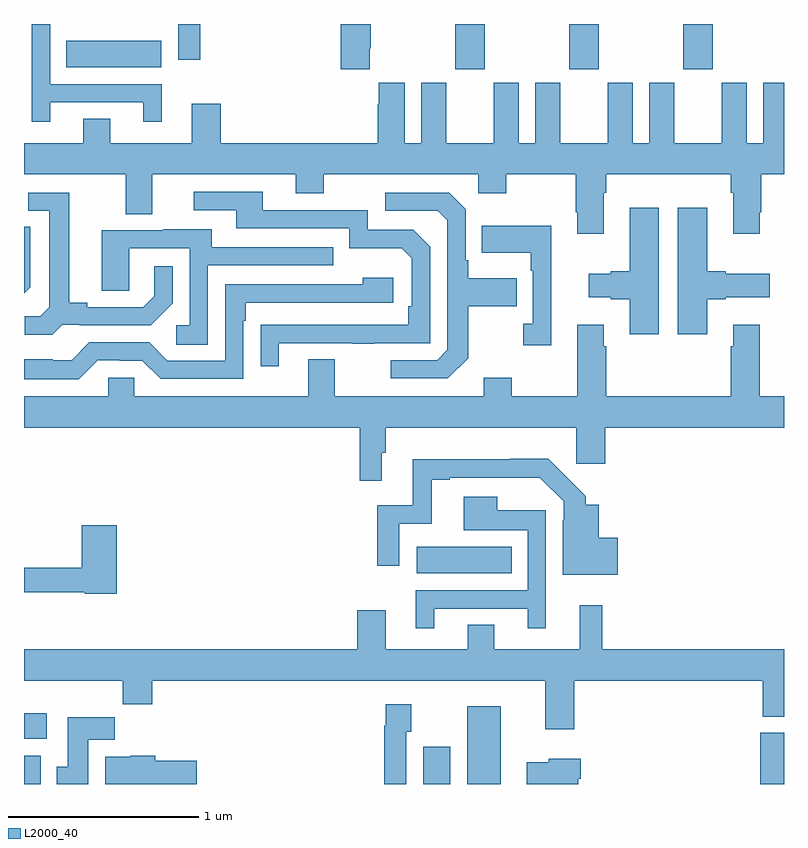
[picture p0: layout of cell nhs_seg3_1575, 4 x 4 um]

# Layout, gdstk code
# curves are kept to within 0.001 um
import gdstk
lib = gdstk.Library(unit=1e-6, precision=1e-09)
def R(c, l, rs):  # rectangles x0, y0, x1, y1
    for r in rs: c.add(gdstk.rectangle(r[:2], r[2:], *l))
def A(c, l, x, y, w, h, nx, ny, dx, dy):  # array of equal rectangles
    R(c, l, [(x+i*dx, y+j*dy, x+i*dx+w, y+j*dy+h) for i in range(nx) for j in range(ny)])
def P(c, l, *ps):  # polygons
    for p in ps: c.add(gdstk.Polygon(p, *l))
L2000_40 = (2000, 40)

nhs_seg3_1575 = lib.new_cell('nhs_seg3_1575')
A(nhs_seg3_1575, L2000_40, 195.271, 676.161, 0.155, 0.239, 3, 1, 0.6, 0)
R(nhs_seg3_1575, L2000_40, [(193,672.4,193.087,672.55), (195.101,672.4,195.244,672.595), (195.332,672.4,195.508,672.808), (196.874,672.4,197,672.669), (193,672.638,193.12,672.772), (195.066,673.508,195.566,673.648), (193.222,676.172,193.723,676.312), (193.812,676.212,193.928,676.4)])
P(nhs_seg3_1575, L2000_40, [(194.821,676.273),(194.826,676.273),(194.826,676.4),(194.666,676.4),(194.666,676.161),(194.821,676.161)],
  [(193.138,675.987),(193.628,675.987),(193.628,675.885),(193.726,675.885),(193.726,676.083),(193.137,676.083),(193.137,676.4),(193.041,676.4),(193.041,675.885),(193.138,675.885)],
  [(196.051,675.512),(196.064,675.512),(196.064,675.608),(196.721,675.608),(196.721,675.512),(196.733,675.512),(196.733,675.297),(196.873,675.297),(196.873,675.409),(196.881,675.409),(196.881,675.608),(197,675.608),(197,676.09),(196.892,676.09),(196.892,675.772),(196.804,675.772),(196.804,676.09),(196.673,676.09),(196.673,675.772),(196.423,675.772),(196.423,676.09),(196.292,676.09),(196.292,675.772),(196.204,675.772),(196.204,676.09),(196.073,676.09),(196.073,675.772),(195.823,675.772),(195.823,676.09),(195.692,676.09),(195.692,675.772),(195.604,675.772),(195.604,676.09),(195.473,676.09),(195.473,675.772),(195.223,675.772),(195.223,676.09),(195.092,676.09),(195.092,675.772),(195.004,675.772),(195.004,676.09),(194.867,676.09),(194.867,675.977),(194.861,675.977),(194.861,675.772),(194.036,675.772),(194.036,675.979),(193.883,675.979),(193.883,675.772),(193.453,675.772),(193.453,675.902),(193.313,675.902),(193.313,675.772),(193,675.772),(193,675.608),(193.535,675.608),(193.535,675.4),(193.675,675.4),(193.675,675.608),(194.429,675.608),(194.429,675.509),(194.577,675.509),(194.577,675.608),(195.39,675.608),(195.39,675.509),(195.537,675.509),(195.537,675.608),(195.904,675.608),(195.904,675.409),(195.911,675.409),(195.911,675.297),(196.051,675.297)],
  [(194.341,674.721),(194.731,674.721),(194.731,674.716),(194.843,674.716),(194.843,674.721),(195.138,674.721),(195.138,675.228),(195.048,675.318),(194.808,675.318),(194.808,675.42),(194.257,675.42),(194.257,675.516),(193.893,675.516),(193.893,675.42),(194.117,675.42),(194.117,675.324),(194.712,675.324),(194.712,675.221),(194.989,675.221),(195.042,675.168),(195.042,674.914),(195.022,674.914),(195.022,674.817),(194.245,674.816),(194.245,674.598),(194.341,674.598)],
  [(195.337,674.641),(195.337,674.914),(195.593,674.914),(195.593,675.061),(195.337,675.061),(195.337,675.157),(195.324,675.157),(195.324,675.426),(195.237,675.513),(194.901,675.513),(194.901,675.417),(195.177,675.417),(195.228,675.366),(195.228,674.685),(195.174,674.631),(194.931,674.631),(194.931,674.535),(195.231,674.535)],
  [(193.2,674.817),(193.294,674.817),(193.294,674.814),(193.666,674.814),(193.782,674.93),(193.782,675.124),(193.685,675.124),(193.685,674.967),(193.628,674.91),(193.333,674.91),(193.333,674.933),(193.237,674.933),(193.237,675.513),(193.023,675.513),(193.023,675.417),(193.133,675.417),(193.133,674.909),(193.086,674.862),(193.005,674.862),(193.005,674.765),(193.148,674.765)],
  [(196.342,675.433),(196.187,675.433),(196.187,675.098),(196.088,675.098),(196.088,675.085),(195.972,675.085),(195.972,674.963),(196.088,674.963),(196.088,674.951),(196.187,674.951),(196.187,674.766),(196.342,674.766)],
  [(196.597,674.951),(196.693,674.951),(196.693,674.963),(196.924,674.963),(196.924,675.085),(196.693,675.085),(196.693,675.098),(196.597,675.098),(196.597,675.433),(196.442,675.433),(196.442,674.766),(196.597,674.766)],
  [(195.776,675.337),(195.409,675.337),(195.409,675.197),(195.666,675.197),(195.666,675.101),(195.678,675.101),(195.678,674.822),(195.627,674.822),(195.627,674.709),(195.776,674.709)],
  [(193.032,675.014),(193.032,675.332),(193,675.332),(193,674.982)],
  [(193.968,675.129),(194.627,675.129),(194.627,675.225),(193.987,675.225),(193.987,675.319),(193.733,675.319),(193.733,675.315),(193.409,675.315),(193.409,674.995),(193.554,674.995),(193.554,675.219),(193.872,675.219),(193.872,674.814),(193.8,674.814),(193.8,674.713),(193.968,674.713)],
  [(193.389,674.631),(193.505,674.631),(193.505,674.628),(193.623,674.628),(193.719,674.532),(194.154,674.532),(194.154,674.837),(194.167,674.837),(194.167,674.934),(194.944,674.934),(194.944,675.064),(194.783,675.064),(194.783,675.03),(194.058,675.03),(194.058,674.628),(193.755,674.628),(193.659,674.724),(193.344,674.724),(193.251,674.631),(193.151,674.631),(193.151,674.635),(193,674.635),(193,674.531),(193.289,674.531)],
  [(194.635,674.635),(194.495,674.635),(194.495,674.44),(193.581,674.44),(193.581,674.538),(193.443,674.538),(193.443,674.44),(193,674.44),(193,674.276),(194.767,674.276),(194.767,673.995),(194.884,673.995),(194.884,674.144),(194.903,674.144),(194.903,674.276),(195.907,674.276),(195.907,674.085),(196.058,674.085),(196.058,674.276),(197,674.276),(197,674.44),(196.873,674.44),(196.873,674.818),(196.733,674.818),(196.733,674.705),(196.721,674.705),(196.721,674.44),(196.064,674.44),(196.064,674.705),(196.051,674.705),(196.051,674.818),(195.911,674.818),(195.911,674.44),(195.567,674.44),(195.567,674.539),(195.419,674.539),(195.419,674.44),(194.635,674.44)],
  [(196.126,673.696),(196.024,673.696),(196.024,673.87),(195.956,673.87),(195.956,673.915),(195.758,674.113),(195.559,674.113),(195.559,674.11),(195.047,674.11),(195.047,673.866),(194.86,673.866),(194.86,673.548),(194.976,673.548),(194.976,673.77),(195.145,673.77),(195.145,674.001),(195.241,674.001),(195.241,674.013),(195.715,674.013),(195.84,673.887),(195.84,673.787),(195.836,673.787),(195.836,673.502),(196.126,673.502)],
  [(195.16,673.323),(195.65,673.323),(195.65,673.221),(195.747,673.221),(195.747,673.84),(195.49,673.84),(195.49,673.912),(195.314,673.912),(195.314,673.736),(195.651,673.736),(195.651,673.419),(195.062,673.419),(195.062,673.221),(195.16,673.221)],
  [(193.487,673.762),(193.304,673.762),(193.304,673.538),(193,673.538),(193,673.41),(193.32,673.41),(193.32,673.402),(193.487,673.402)],
  [(195.743,672.687),(195.896,672.687),(195.896,672.944),(196.889,672.944),(196.889,672.754),(197,672.754),(197,673.108),(196.043,673.108),(196.043,673.342),(195.926,673.342),(195.926,673.108),(195.475,673.108),(195.475,673.238),(195.335,673.238),(195.335,673.108),(194.905,673.108),(194.905,673.315),(194.753,673.315),(194.753,673.108),(193,673.108),(193,672.944),(193.519,672.944),(193.519,672.82),(193.676,672.82),(193.676,672.944),(195.743,672.944)],
  [(195.012,672.675),(195.039,672.675),(195.039,672.82),(194.904,672.82),(194.904,672.707),(194.896,672.707),(194.896,672.4),(195.012,672.4)],
  [(193.339,672.632),(193.478,672.632),(193.478,672.751),(193.229,672.751),(193.229,672.492),(193.172,672.492),(193.172,672.4),(193.339,672.4)],
  [(193.909,672.522),(193.691,672.522),(193.691,672.55),(193.56,672.55),(193.56,672.544),(193.427,672.544),(193.427,672.4),(193.909,672.4)],
  [(195.916,672.428),(195.929,672.428),(195.929,672.532),(195.762,672.532),(195.762,672.514),(195.647,672.514),(195.647,672.4),(195.916,672.4)])

lib.write_gds('nhs_seg3_1575.gds')
